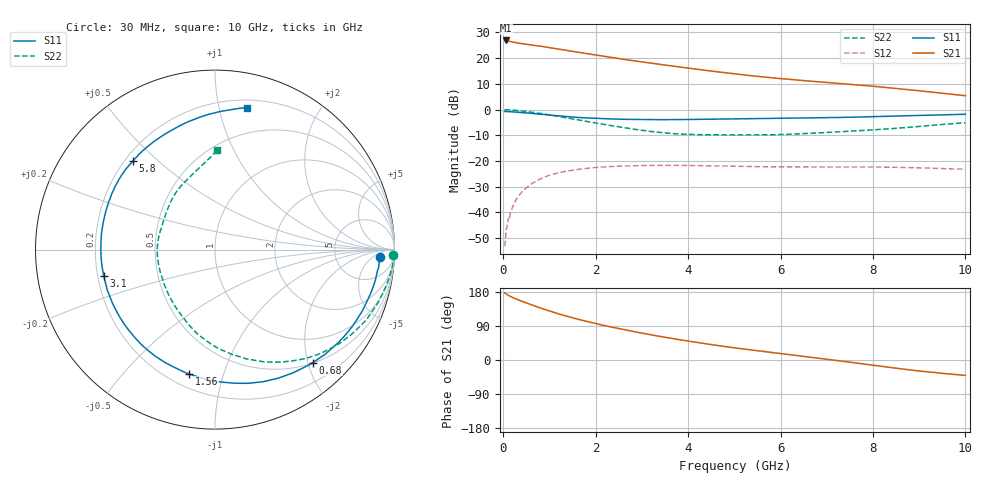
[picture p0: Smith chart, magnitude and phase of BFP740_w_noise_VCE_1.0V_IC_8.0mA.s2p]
! Infineon Technologies  Discrete & RF Semiconductors
! BFP740
! VCE =  1.0 V,  IC =  8.0 mA
! Common Emitter S-Parameters:  Jan 2016
# GHz  S  MA  R  50
!  f  S11  S21  S12  S22
! GHz  MAG  ANG  MAG  ANG  MAG  ANG  MAG  ANG
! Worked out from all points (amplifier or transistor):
!   229 points, 30 MHz to 10 GHz, reference 50 ohm
!   highest |S21| = 26.9 dB at 50 MHz (marker M1)
!   |S21| within 3 dB of that: start of sweep to 1.071 GHz
!   unconditionally stable (mu >= 1): 7.119 GHz to end of sweep
!   at 280 MHz: K = 0.13, MSG = 30.5 dB, |S12| = -35.0 dB
!   at 1.78 GHz: K = 0.30, MSG = 22.4 dB, |S12| = -22.9 dB
!   at 10 GHz: K = 1.18, MAG = 11.7 dB, |S12| = -23.2 dB
!   lowest NFmin = 0.48 dB at 450 MHz
!   S11 on the Smith chart (normalised r, x): 30 MHz: 19, -10; 680 MHz: 0.51, -2.09; 1.56 GHz: 0.28, -0.78; 3.1 GHz: 0.22, -0.11; 5.8 GHz: 0.23, +0.42; 10 GHz: 0.26, +1.21
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0.03  0.9196 -2.4  21.97 177.0  0.0022 90.4  0.9944 -1.6
0.05  0.9187 -4.1  22.09 175.5  0.003 66.1  0.9944 -3.1
0.11  0.9115 -8.8  21.6 170.6  0.0076 91.8  0.9898 -6.5
0.26  0.8929 -19.9  20.12 161.9  0.0164 77.8  0.9657 -14.6
0.46  0.8662 -34.1  18.87 152.4  0.0279 69.6  0.9285 -25.0
0.68  0.8325 -49.1  17.66 142.7  0.0391 61.2  0.8747 -35.7
0.88  0.8007 -62.5  16.7 134.1  0.048 53.6  0.8211 -45.0
1.1  0.7675 -76.1  15.49 125.5  0.0561 46.6  0.759 -54.7
1.32  0.7353 -88.7  14.37 117.4  0.0622 40.1  0.7003 -63.5
1.56  0.7074 -101.7  13.28 109.5  0.0675 33.9  0.6428 -72.4
1.7  0.6947 -109.0  12.7 105.0  0.0701 30.7  0.609 -77.6
2.08  0.6702 -127.1  11.21 93.9  0.0755 22.7  0.5336 -91.1
2.28  0.6592 -135.7  10.5 88.5  0.0774 19.0  0.4976 -97.8
2.62  0.6461 -149.4  9.462 79.9  0.0797 13.4  0.444 -109.0
3.1  0.6372 -166.9  8.22 68.7  0.0817 6.4  0.3842 -125.9
3.4  0.6358 -176.8  7.546 62.1  0.082 2.5  0.3585 -136.8
4.2  0.6447 160.7  6.067 46.1  0.0812 -6.3  0.3252 -165.1
5.1  0.6637 142.7  4.844 30.6  0.0785 -13.0  0.3214 171.1
5.8  0.673 132.6  4.158 19.9  0.0768 -16.7  0.3235 156.3
6.8  0.6914 119.6  3.477 5.1  0.0768 -21.4  0.3502 138.0
8.4  0.7453 95.7  2.633 -20.1  0.0755 -31.2  0.4247 110.3
10  0.8109 77.5  1.86 -40.6  0.0691 -37.3  0.5539 88.9
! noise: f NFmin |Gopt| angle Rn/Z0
0.45  0.48  0.29  9  0.17
0.9  0.49  0.29  15  0.17
1.5  0.51  0.28  23  0.16
1.9  0.54  0.27  41  0.16
2.4  0.56  0.27  46  0.15
3.5  0.67  0.24  62  0.14
5.5  0.86  0.19  -178  0.13
10  1.39  0.52  -77  0.17
